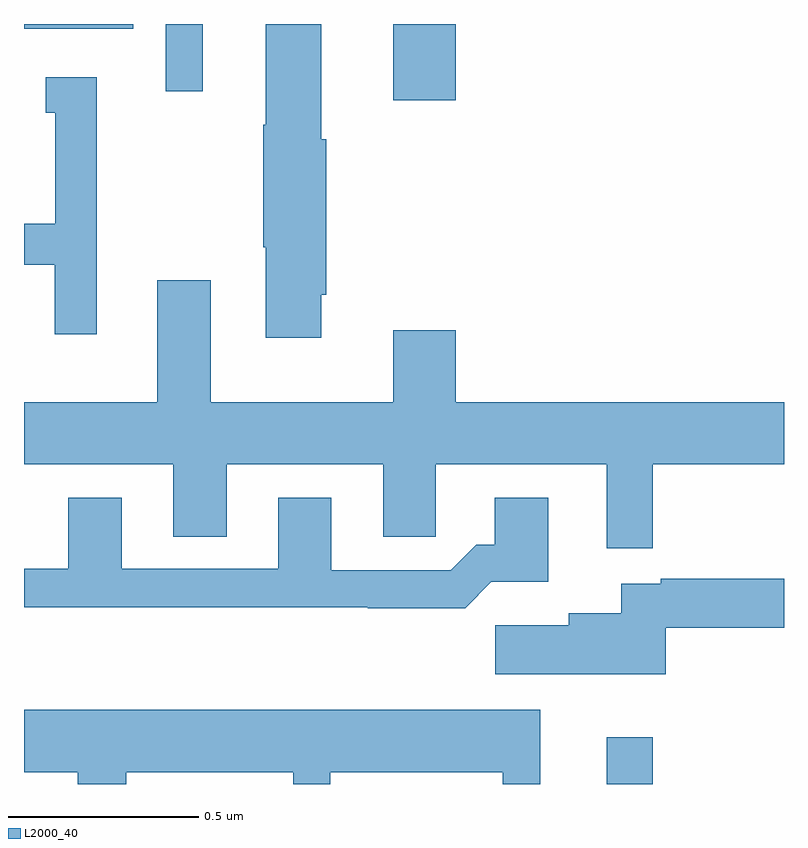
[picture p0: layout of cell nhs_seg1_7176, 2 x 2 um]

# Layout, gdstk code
import gdstk
lib = gdstk.Library(unit=1e-6, precision=1e-09)
def R(c, l, rs):  # rectangles x0, y0, x1, y1
    for r in rs: c.add(gdstk.rectangle(r[:2], r[2:], *l))
def P(c, l, *ps):  # polygons
    for p in ps: c.add(gdstk.Polygon(p, *l))
L2000_40 = (2000, 40)

nhs_seg1_7176 = lib.new_cell('nhs_seg1_7176')
R(nhs_seg1_7176, L2000_40, [(201.533,576.199,201.655,576.322), (200.972,577.998,201.136,578.199), (200.373,578.022,200.47,578.199), (200,578.187,200.288,578.199)])
P(nhs_seg1_7176, L2000_40, [(200.782,577.486),(200.795,577.486),(200.795,577.896),(200.782,577.896),(200.782,578.199),(200.636,578.199),(200.636,577.934),(200.629,577.934),(200.629,577.612),(200.636,577.612),(200.636,577.374),(200.782,577.374)],
  [(200.191,578.059),(200.057,578.059),(200.057,577.965),(200.082,577.965),(200.082,577.674),(200,577.674),(200,577.566),(200.081,577.566),(200.081,577.383),(200.191,577.383)],
  [(201.655,577.04),(202,577.04),(202,577.204),(201.136,577.204),(201.136,577.393),(200.972,577.393),(200.972,577.204),(200.491,577.204),(200.491,577.525),(200.351,577.525),(200.351,577.204),(200,577.204),(200,577.04),(200.393,577.04),(200.393,576.85),(200.533,576.85),(200.533,577.04),(200.945,577.04),(200.945,576.85),(201.084,576.85),(201.084,577.04),(201.533,577.04),(201.533,576.819),(201.655,576.819)],
  [(201.23,576.731),(201.379,576.731),(201.379,576.952),(201.239,576.952),(201.239,576.829),(201.19,576.829),(201.123,576.762),(200.809,576.762),(200.809,576.952),(200.669,576.952),(200.669,576.765),(200.257,576.765),(200.257,576.952),(200.117,576.952),(200.117,576.765),(200,576.765),(200,576.664),(200.905,576.664),(200.905,576.662),(201.161,576.662)],
  [(201.689,576.61),(202,576.61),(202,576.739),(201.676,576.739),(201.676,576.726),(201.572,576.726),(201.572,576.649),(201.434,576.649),(201.434,576.617),(201.24,576.617),(201.24,576.488),(201.689,576.488)],
  [(200.269,576.23),(200.708,576.23),(200.708,576.199),(200.806,576.199),(200.806,576.23),(201.26,576.23),(201.26,576.199),(201.358,576.199),(201.358,576.394),(200,576.394),(200,576.23),(200.141,576.23),(200.141,576.199),(200.269,576.199)])

lib.write_gds('nhs_seg1_7176.gds')
